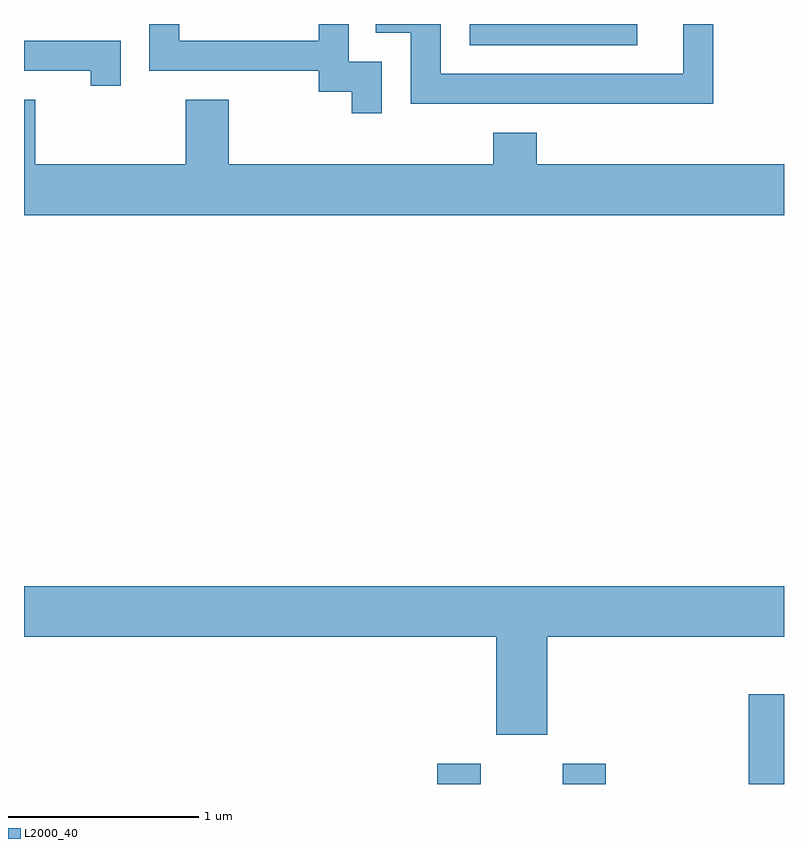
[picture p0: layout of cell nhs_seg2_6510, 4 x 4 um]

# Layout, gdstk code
import gdstk
lib = gdstk.Library(unit=1e-6, precision=1e-09)
def R(c, l, rs):  # rectangles x0, y0, x1, y1
    for r in rs: c.add(gdstk.rectangle(r[:2], r[2:], *l))
def P(c, l, *ps):  # polygons
    for p in ps: c.add(gdstk.Polygon(p, *l))
L2000_40 = (2000, 40)

nhs_seg2_6510 = lib.new_cell('nhs_seg2_6510')
R(nhs_seg2_6510, L2000_40, [(379.786,1009.802,380.014,1009.909), (380.446,1009.802,380.674,1009.909), (381.426,1009.802,381.611,1010.274), (379.956,1013.691,380.838,1013.802)])
P(nhs_seg2_6510, L2000_40, [(381.239,1013.802),(381.081,1013.802),(381.081,1013.539),(379.804,1013.539),(379.804,1013.802),(379.463,1013.802),(379.463,1013.756),(379.646,1013.756),(379.646,1013.381),(381.239,1013.381)],
  [(379.494,1013.604),(379.319,1013.604),(379.319,1013.802),(379.161,1013.802),(379.161,1013.714),(378.429,1013.714),(378.429,1013.802),(378.271,1013.802),(378.271,1013.556),(379.161,1013.556),(379.161,1013.446),(379.336,1013.446),(379.336,1013.333),(379.494,1013.333)],
  [(378.119,1013.714),(377.611,1013.714),(377.611,1013.556),(377.961,1013.556),(377.961,1013.478),(378.119,1013.478)],
  [(381.611,1013.064),(380.309,1013.064),(380.309,1013.229),(380.081,1013.229),(380.081,1013.064),(378.689,1013.064),(378.689,1013.404),(378.461,1013.404),(378.461,1013.064),(377.669,1013.064),(377.669,1013.404),(377.611,1013.404),(377.611,1012.796),(381.611,1012.796)],
  [(380.364,1010.576),(381.611,1010.576),(381.611,1010.844),(377.611,1010.844),(377.611,1010.576),(380.096,1010.576),(380.096,1010.061),(380.364,1010.061)])

lib.write_gds('nhs_seg2_6510.gds')
